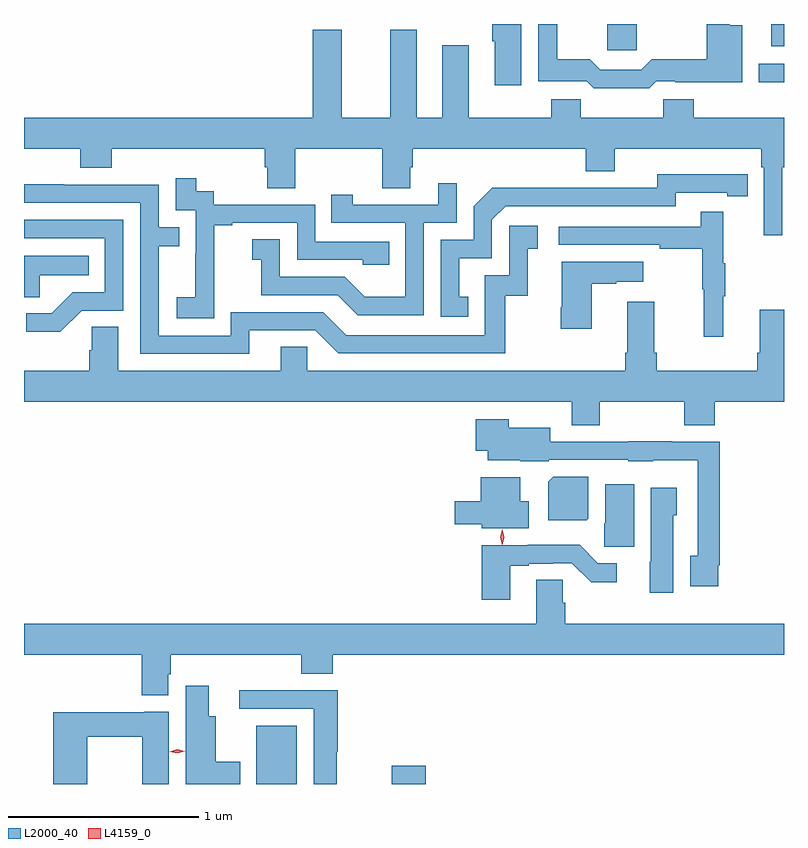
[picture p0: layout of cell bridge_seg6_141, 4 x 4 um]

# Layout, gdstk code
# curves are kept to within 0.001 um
import gdstk
lib = gdstk.Library(unit=1e-6, precision=1e-09)
def R(c, l, rs):  # rectangles x0, y0, x1, y1
    for r in rs: c.add(gdstk.rectangle(r[:2], r[2:], *l))
def P(c, l, *ps):  # polygons
    for p in ps: c.add(gdstk.Polygon(p, *l))
L2000_40 = (2000, 40)
L4159_0 = (4159, 0)

bridge_seg6_141 = lib.new_cell('bridge_seg6_141')
R(bridge_seg6_141, L2000_40, [(541.358,924.013,541.57,924.319), (542.071,924.013,542.249,924.109), (544.001,927.707,544.135,927.804), (543.206,927.876,543.36,928.013), (544.068,927.896,544.135,928.013)])
P(bridge_seg6_141, L2000_40, [(542.752,928.013),(542.6,928.013),(542.6,927.921),(542.612,927.921),(542.612,927.69),(542.752,927.69)],
  [(543.462,927.711),(543.562,927.711),(543.562,927.707),(543.916,927.707),(543.916,928.006),(543.85,928.006),(543.85,928.013),(543.729,928.013),(543.729,927.827),(543.44,927.827),(543.384,927.771),(543.168,927.771),(543.113,927.827),(542.942,927.827),(542.942,928.013),(542.841,928.013),(542.841,927.711),(543.096,927.711),(543.133,927.675),(543.426,927.675)],
  [(544.126,927.26),(544.135,927.26),(544.135,927.52),(543.659,927.52),(543.659,927.618),(543.499,927.618),(543.499,927.52),(543.066,927.52),(543.066,927.618),(542.911,927.618),(542.911,927.52),(542.476,927.52),(542.476,927.901),(542.336,927.901),(542.336,927.52),(542.203,927.52),(542.203,927.982),(542.063,927.982),(542.063,927.52),(541.807,927.52),(541.807,927.982),(541.655,927.982),(541.655,927.52),(540.135,927.52),(540.135,927.356),(540.431,927.356),(540.431,927.257),(540.596,927.257),(540.596,927.356),(541.403,927.356),(541.403,927.258),(541.415,927.258),(541.415,927.148),(541.563,927.148),(541.563,927.356),(542.02,927.356),(542.02,927.148),(542.167,927.148),(542.167,927.258),(542.18,927.258),(542.18,927.356),(543.092,927.356),(543.092,927.239),(543.244,927.239),(543.244,927.356),(544.016,927.356),(544.016,927.26),(544.029,927.26),(544.029,926.901),(544.126,926.901)],
  [(542.474,926.577),(542.425,926.577),(542.425,926.781),(542.598,926.781),(542.598,926.982),(542.67,927.054),(543.564,927.054),(543.564,927.126),(543.836,927.126),(543.836,927.106),(543.944,927.106),(543.944,927.222),(543.468,927.223),(543.468,927.15),(543.008,927.15),(543.008,927.152),(542.6,927.152),(542.502,927.054),(542.502,926.877),(542.328,926.877),(542.328,926.472),(542.474,926.472)],
  [(541.137,926.671),(541.136,926.671),(541.136,926.955),(541.231,926.955),(541.231,926.967),(541.572,926.967),(541.572,926.772),(541.917,926.772),(541.917,926.745),(542.057,926.745),(542.057,926.868),(541.668,926.868),(541.668,927.063),(541.134,927.063),(541.134,927.132),(541.042,927.132),(541.042,927.202),(540.933,927.202),(540.933,927.033),(541.038,927.033),(541.038,926.804),(541.037,926.804),(541.037,926.575),(540.939,926.575),(540.939,926.465),(541.137,926.465)],
  [(542.238,926.967),(542.412,926.967),(542.412,927.175),(542.315,927.175),(542.315,927.063),(541.864,927.063),(541.864,927.115),(541.753,927.115),(541.753,926.967),(542.142,926.967),(542.142,926.578),(541.928,926.578),(541.824,926.682),(541.482,926.682),(541.482,926.881),(541.335,926.881),(541.335,926.771),(541.384,926.771),(541.384,926.586),(541.787,926.586),(541.892,926.481),(542.238,926.481)],
  [(541.321,926.4),(541.668,926.4),(541.788,926.28),(542.668,926.28),(542.668,926.583),(542.786,926.583),(542.786,926.829),(542.839,926.829),(542.839,926.95),(542.688,926.95),(542.688,926.691),(542.559,926.691),(542.559,926.376),(541.83,926.376),(541.71,926.496),(541.224,926.496),(541.224,926.373),(540.843,926.373),(540.843,926.842),(540.953,926.842),(540.953,926.943),(540.843,926.943),(540.843,927.168),(540.347,927.168),(540.347,927.17),(540.135,927.17),(540.135,927.072),(540.747,927.072),(540.747,926.277),(541.321,926.277)],
  [(543.815,926.579),(543.826,926.579),(543.826,926.753),(543.815,926.753),(543.815,927.025),(543.697,927.025),(543.697,926.946),(542.949,926.946),(542.949,926.85),(543.481,926.85),(543.481,926.83),(543.705,926.83),(543.705,926.616),(543.712,926.616),(543.712,926.367),(543.815,926.367)],
  [(540.438,926.505),(540.657,926.505),(540.657,926.982),(540.135,926.982),(540.135,926.886),(540.561,926.886),(540.561,926.601),(540.392,926.601),(540.281,926.49),(540.147,926.49),(540.147,926.393),(540.325,926.393)],
  [(540.219,926.69),(540.476,926.69),(540.476,926.794),(540.135,926.794),(540.135,926.575),(540.219,926.575)],
  [(543.124,926.647),(543.251,926.647),(543.251,926.657),(543.394,926.657),(543.394,926.761),(542.966,926.761),(542.966,926.521),(542.959,926.521),(542.959,926.409),(543.124,926.409)],
  [(541.626,926.315),(541.487,926.315),(541.487,926.188),(540.631,926.188),(540.631,926.42),(540.492,926.42),(540.492,926.297),(540.479,926.297),(540.479,926.188),(540.135,926.188),(540.135,926.024),(543.017,926.024),(543.017,925.9),(543.165,925.9),(543.165,926.024),(543.61,926.024),(543.61,925.9),(543.77,925.9),(543.77,926.024),(544.135,926.024),(544.135,926.509),(544.007,926.509),(544.007,926.284),(543.995,926.284),(543.995,926.188),(543.464,926.188),(543.464,926.284),(543.451,926.284),(543.451,926.551),(543.311,926.551),(543.311,926.284),(543.299,926.284),(543.299,926.188),(541.626,926.188)],
  [(543.79,925.165),(543.797,925.165),(543.797,925.815),(543.547,925.815),(543.547,925.817),(543.315,925.817),(543.315,925.815),(542.905,925.815),(542.905,925.888),(542.686,925.888),(542.686,925.933),(542.513,925.933),(542.513,925.766),(542.576,925.766),(542.576,925.718),(542.748,925.718),(542.748,925.712),(542.898,925.712),(542.898,925.719),(543.315,925.719),(543.315,925.712),(543.447,925.712),(543.447,925.718),(543.681,925.718),(543.681,925.214),(543.641,925.214),(543.641,925.053),(543.79,925.053)],
  [(543.106,925.408),(543.106,925.63),(542.92,925.63),(542.894,925.604),(542.894,925.4),(543.098,925.4)],
  [(542.791,925.501),(542.746,925.501),(542.746,925.628),(542.54,925.628),(542.54,925.501),(542.403,925.501),(542.403,925.379),(542.544,925.379),(542.544,925.358),(542.791,925.358)],
  [(543.346,925.591),(543.194,925.591),(543.194,925.386),(543.19,925.386),(543.19,925.263),(543.346,925.263)],
  [(543.553,925.428),(543.571,925.428),(543.571,925.573),(543.434,925.573),(543.434,925.182),(543.428,925.182),(543.428,925.02),(543.553,925.02)],
  [(542.695,925.161),(542.791,925.161),(542.791,925.173),(542.918,925.173),(542.918,925.176),(543.018,925.176),(543.121,925.074),(543.256,925.074),(543.256,925.176),(543.156,925.176),(543.061,925.271),(542.543,925.27),(542.543,924.984),(542.695,924.984)],
  [(540.895,924.591),(540.908,924.591),(540.908,924.692),(541.595,924.692),(541.595,924.593),(541.76,924.593),(541.76,924.692),(544.135,924.692),(544.135,924.856),(542.984,924.856),(542.984,924.966),(542.97,924.966),(542.97,925.088),(542.831,925.088),(542.831,924.856),(540.135,924.856),(540.135,924.692),(540.755,924.692),(540.755,924.479),(540.895,924.479)],
  [(541.273,924.13),(541.144,924.13),(541.144,924.37),(541.108,924.37),(541.108,924.529),(540.986,924.529),(540.986,924.013),(541.273,924.013)],
  [(541.782,924.182),(541.787,924.182),(541.787,924.506),(541.269,924.506),(541.269,924.408),(541.661,924.408),(541.661,924.013),(541.782,924.013)],
  [(540.468,924.262),(540.757,924.262),(540.757,924.013),(540.898,924.013),(540.898,924.394),(540.768,924.394),(540.768,924.391),(540.29,924.391),(540.29,924.013),(540.468,924.013)])
P(bridge_seg6_141, L4159_0, [(542.652,925.271),(542.651,925.272),(542.642,925.312),(542.652,925.353),(542.652,925.354),(542.652,925.353),(542.662,925.312),(542.652,925.272)],
  [(540.942,924.175),(540.902,924.184),(540.902,924.184),(540.902,924.184),(540.942,924.195),(540.982,924.185),(540.982,924.185),(540.982,924.185)])

lib.write_gds('bridge_seg6_141.gds')
